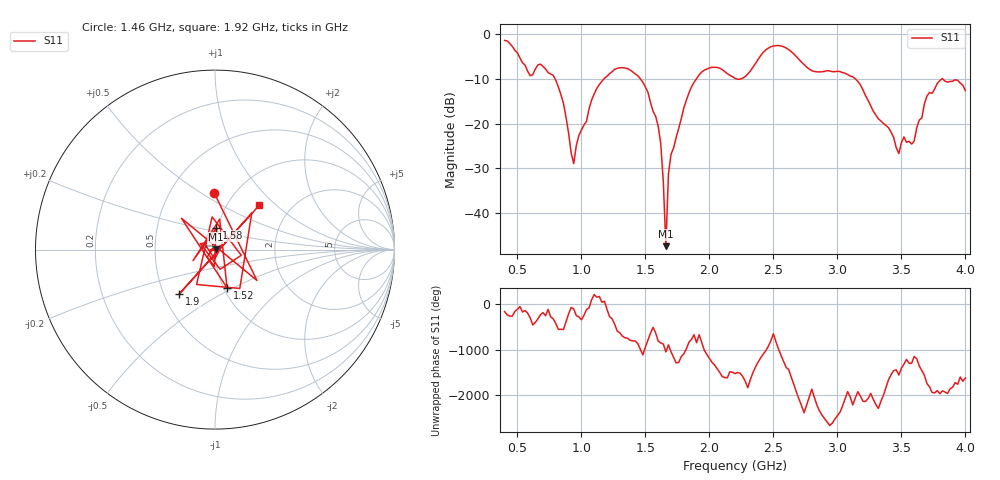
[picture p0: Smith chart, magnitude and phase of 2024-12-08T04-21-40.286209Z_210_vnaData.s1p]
!Created with skrf (http://scikit-rf.org).
# Hz S RI R 50.0
!freq ReS11 ImS11
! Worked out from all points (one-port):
!   181 points, 400 MHz to 4 GHz, reference 50 ohm
!   lowest |S11| = -47.4 dB at 1.66 GHz (marker M1), VSWR 1.01, Z = 50.4 + j0.206 ohm
!   |S11| at or under -10 dB: 794.2 MHz to 1.176 GHz (382 MHz wide, 38.8 % of centre); 1.461 GHz to 1.898 GHz (437.4 MHz wide, 26 % of centre); 3.141 GHz to 3.817 GHz (676.2 MHz wide, 19.4 % of centre) (the widest 3 of 5)
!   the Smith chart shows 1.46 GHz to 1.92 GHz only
!   S11 on the Smith chart (normalised r, x): 1.46 GHz: 0.81, +0.57; 1.52 GHz: 1.04, -0.47; 1.58 GHz: 0.99, +0.24; 1.9 GHz: 0.60, -0.33; 1.92 GHz: 1.40, +0.79
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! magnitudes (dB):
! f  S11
! 400 MHz  -1.4
! 600 MHz  -9.3
! 680 MHz  -6.7
! 780 MHz  -9.2
! 860 MHz  -15.5
! 940 MHz  -28.9
! 980 MHz  -22.7
! 1.12 GHz  -12.1
! 1.3 GHz  -7.5
! 1.46 GHz  -10.0
! 1.52 GHz  -13.0
! 1.58 GHz  -18.4
! 1.62 GHz  -24.5
! 1.64 GHz  -33.0
! 1.66 GHz  -47.4
! 1.68 GHz  -31.2
! 1.76 GHz  -21.1
! 1.9 GHz  -9.9
! 1.92 GHz  -9.1
! 2.2 GHz  -9.9
! 2.48 GHz  -2.8
! 2.66 GHz  -4.4
! 3.1 GHz  -9.4
! 3.48 GHz  -26.7
! 3.52 GHz  -23.0
! 3.56 GHz  -23.9
! 3.8 GHz  -10.4
! 4 GHz  -12.6
